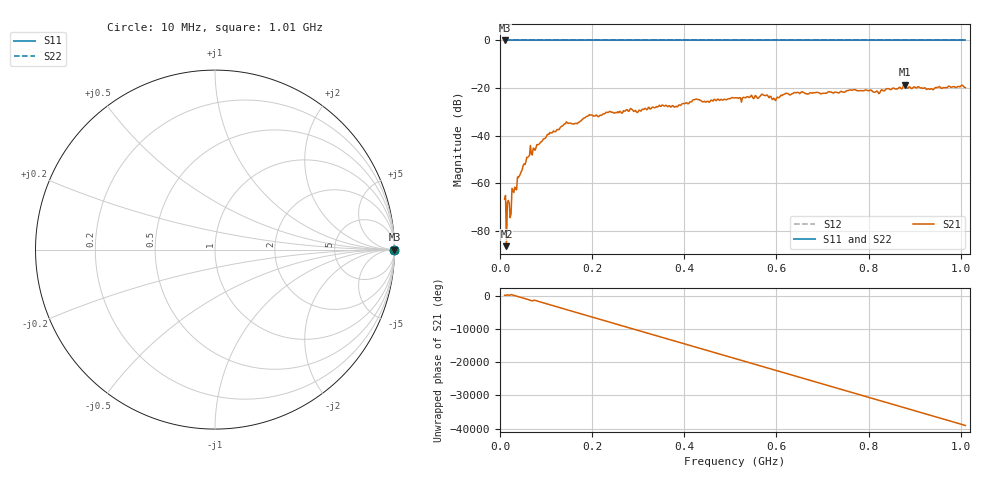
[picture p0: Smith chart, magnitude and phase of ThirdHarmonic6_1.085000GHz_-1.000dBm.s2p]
! 8/16/2025 10:01:19 AM
! C:\ANRITSUVNA\TEMP\TEMP.S2P
! CHANNEL.1
! TR.MEASUREMENT
! RAW.DATA
! RF.CORRECTION.OFF
! AVERAGING.OFF
! IF.BANDWIDTH: 5KHZ
! SWEEPTYPE:  FREQ.SWEEP(Linear)
! Reference Plane Port Info
! PORT:  PORT1  PORT2
! DISTANCE:  0  m  0  m
! TIME:  0  s  0  s
! PHASE.OFFSET:  0  deg.  0  deg.
! LOSS:  0  dB  0  dB
! REF.LOSS:  0  dB  0  dB
! REF.FREQ:  0  Hz  0  Hz
! Power Info
! POWER:  -20  dBm  -20  dBm
! EFF.POWER:  -20  dBm  -20  dBm
! SOURCE.ATTEN:  0  dB  0  dB
! TEST.ATTEN:  0  dB  0  dB
# GHZ S RI R 50.0
! FREQ.GHZ  S11RE  S11IM  S21RE  S21IM  S12RE  S12IM  S22RE  S22IM
!; PortSelection: Port_12
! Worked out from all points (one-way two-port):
!   501 points, 10 MHz to 1.01 GHz, reference 50 ohm
!   highest |S21| = -18.61 dB at 878 MHz (marker M1); lowest = -86.4 dB at 14 MHz (marker M2)
!   lowest |S11| = 0.0 dB at 10 MHz (marker M3)
!   |S11| at or under -10 dB: nowhere
!   |S22| runs from 0.0 to 0.0 dB; largest |S21 - S12| = 1.1
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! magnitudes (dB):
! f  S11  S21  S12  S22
! 10 MHz  0.0  -66.7  0.0  0.0
! 14 MHz  0.0  -86.4  0.0  0.0
! 18 MHz  0.0  -67.2  0.0  0.0
! 26 MHz  0.0  -62.1  0.0  0.0
! 30 MHz  0.0  -63.9  0.0  0.0
! 42 MHz  0.0  -56.9  0.0  0.0
! 62 MHz  0.0  -48.7  0.0  0.0
! 70 MHz  0.0  -48.1  0.0  0.0
! 106 MHz  0.0  -39.5  0.0  0.0
! 142 MHz  0.0  -35.0  0.0  0.0
! 178 MHz  0.0  -33.3  0.0  0.0
! 196 MHz  0.0  -31.4  0.0  0.0
! 344 MHz  0.0  -27.7  0.0  0.0
! 424 MHz  0.0  -24.8  0.0  0.0
! 510 MHz  0.0  -24.1  0.0  0.0
! 570 MHz  0.0  -22.7  0.0  0.0
! 594 MHz  0.0  -24.3  0.0  0.0
! 620 MHz  0.0  -22.2  0.0  0.0
! 678 MHz  0.0  -22.2  0.0  0.0
! 844 MHz  0.0  -20.3  0.0  0.0
! 878 MHz  0.0  -18.6  0.0  0.0
! 1.01 GHz  0.0  -19.8  0.0  0.0
